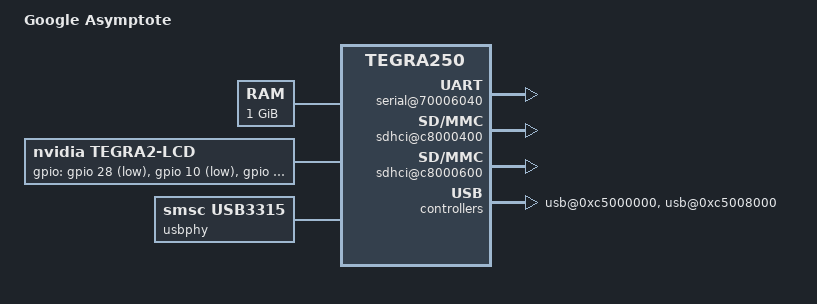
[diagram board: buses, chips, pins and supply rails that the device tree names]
/dts-v1/;

/memreserve/ 0x1c000000 0x04000000;
/include/ "tegra250.dtsi"
/include/ "flashmap-twostop-4mb.dtsi"

/ {
	model = "Google Asymptote";
	compatible = "google,asymptote", "nvidia,tegra250";

	config {
		silent_console = <0>;
		odmdata = <0x300d8011>;
		hwid = "ARM ASYMPTOTE TEST 8314";
		machine-arch-id = <3624>;

		/* Chrome OS specific GPIO port number */
		gpio_port_write_protect_switch	= <59>;
		gpio_port_recovery_switch	= <56>;
		gpio_port_developer_switch	= <168>;

		/* GPIO polarity: 0=active_low, 1=active_high */
		polarity_write_protect_switch	= <1>;
		polarity_recovery_switch	= <0>;
		polarity_developer_switch	= <1>;
	};

	aliases {
		console = "/serial@70006040";
                usb0 = "/usb@0xc5008000";
                usb1 = "/usb@0xc5000000";

		sdmmc0 = "/sdhci@c8000600";
		sdmmc1 = "/sdhci@c8000400";

		i2c0 = "/i2c@0x7000d000";
		i2c1 = "/i2c@0x7000c000";
		i2c2 = "/i2c@0x7000c400";
		i2c3 = "/i2c@0x7000c500";
	};

	chosen {
		bootargs = "";
	};

	memory {
		device_type = "memory";
		reg = <0x00000000 0x40000000>;
	};

	serial@70006040 {
		status = "ok";
		clock-frequency = <216000000>;
	};

	sdhci@c8000400 {
		status = "ok";
		width = <4>;	/* width of SDIO port */
		removable = <1>;
		/* Parameter 3 bit 0:1=output, 0=input; bit 1:1=high, 0=low */
		cd-gpio = <&gpio 69 0>; /* card detect, gpio PI5 */
		wp-gpio = <&gpio 57 0>; /* write protect, gpio PH1 */
		power-gpio = <&gpio 70 3>; /* power enable, gpio PI6 */
	};

	sdhci@c8000600 {
		status = "ok";
		width = <4>;	/* width of SDIO port */
		removable = <0>;
	};

	lcd {
		compatible = "nvidia,tegra2-lcd";
		width = <1366>;
		height = <768>;
		bits_per_pixel = <16>;
		pwfm = <&pwfm2>;
		display = <&display1>;
		frame-buffer = <0x1C022000>;

		pixel_clock = <62200000>;

		/* Timing: ref_to_sync, sync_width. back_porch, front_porch */
		horiz_timing = <11 58 58 58>;
		vert_timing = <1 4 4 4>;

		/* For these the third parameter is 0=low, 1=high */
		gpios = <&gpio 28 3>,	/* backlight PD4 */
			<&gpio 10 3>,	/* lvds shutdown PB2 */
			<&gpio 176 3>,	/* backlight vdd PW0 */
			<&gpio 22 3>;	/* enable vdd pnl PC6 */
	};

	usb@0xc5000000 {
		status = "ok";
		host-mode = <1>;
	};

	usbphy: usbphy@0 {
		compatible = "smsc,usb3315";
		status = "ok";
	};

	usb@0xc5008000 {
		status = "ok";
		utmi = <&usbphy>;
		host-mode = <0>;
	};
};
